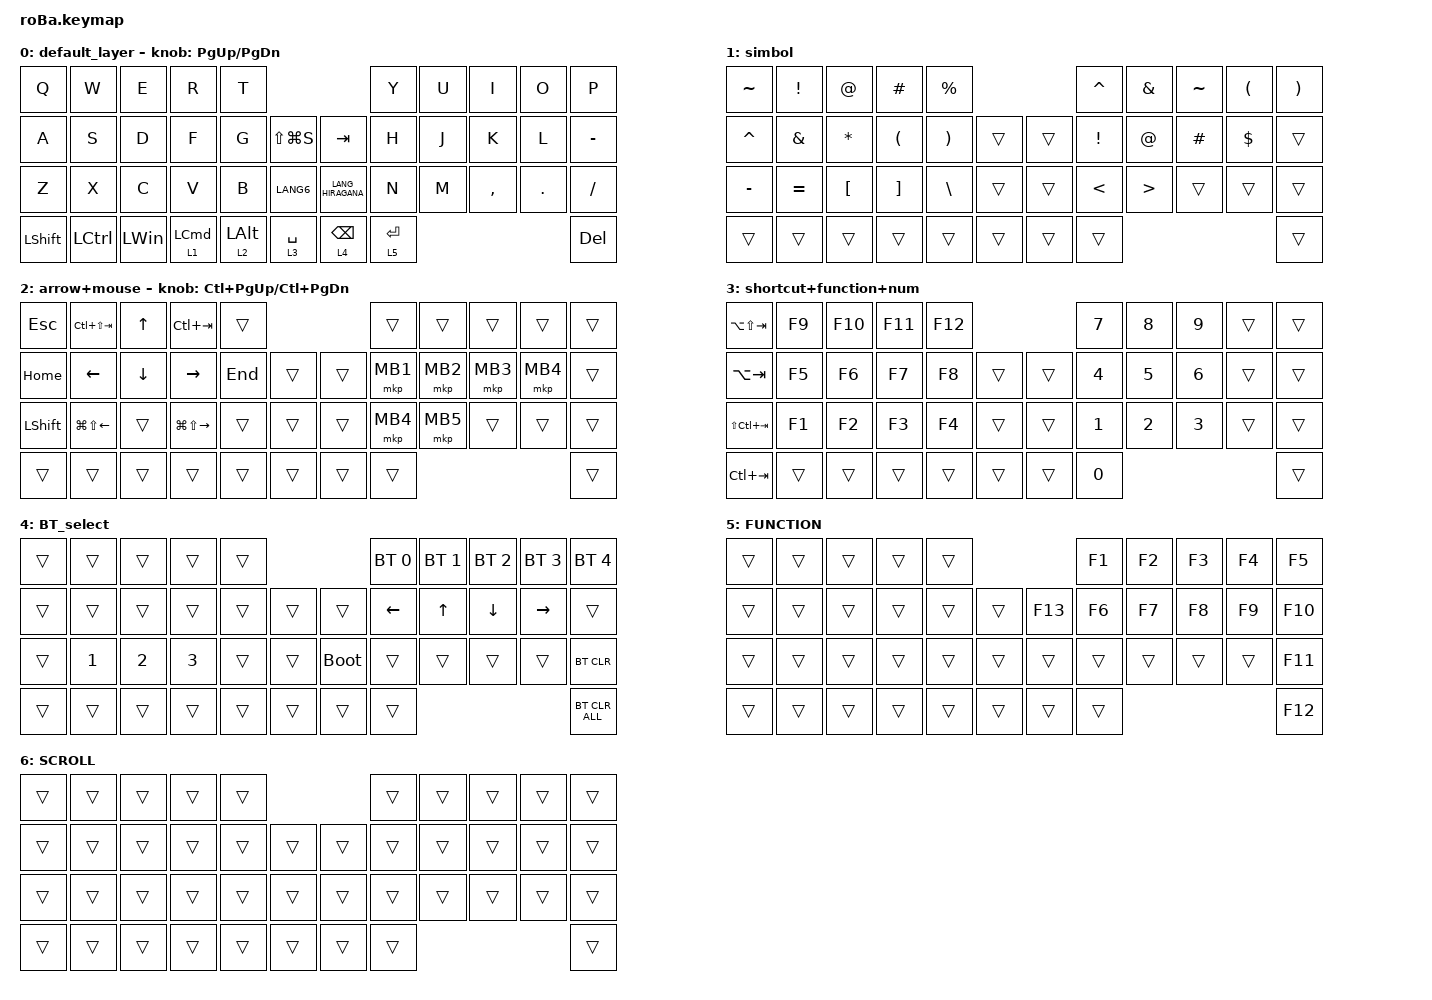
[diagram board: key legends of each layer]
#include <behaviors.dtsi>
#include <dt-bindings/zmk/bt.h>
#include <dt-bindings/zmk/keys.h>
#include <dt-bindings/zmk/pointing.h>

&mt {
    flavor = "balanced";
    quick-tap-ms = <0>;
};

&trackball {
    automouse-layer = <4>;
    scroll-layers = <5>;

    // arrows {
    //     layers = <3>;
    //     bindings =
    //         <&kp RIGHT_ARROW>,
    //         <&kp LEFT_ARROW>,
    //         <&kp UP_ARROW>,
    //         <&kp DOWN_ARROW>;
    //     tick = <10>;
    //     wait-ms = <5>;
    //     tap-ms = <5>;
    // };
};

/ {
    combos {
        compatible = "zmk,combos";

        tab {
            bindings = <&kp TAB>;
            key-positions = <11 12>;
        };

        shift_tab {
            bindings = <&kp LS(TAB)>;
            key-positions = <12 13>;
        };

        muhennkann {
            bindings = <&to_layer_0 INT_MUHENKAN>;
            key-positions = <11 10>;
        };

        double_quotation {
            bindings = <&kp DOUBLE_QUOTES>;
            key-positions = <20 21>;
        };

        eq {
            bindings = <&kp EQUAL>;
            key-positions = <24 25>;
        };
    };

    macros {
        to_layer_0: to_layer_0 {
            compatible = "zmk,behavior-macro-one-param";
            #binding-cells = <1>;
            bindings = <&to 0 &macro_param_1to1 &kp MACRO_PLACEHOLDER>;
            label = "TO_LAYER_0";
        };
    };

    behaviors {
        lt_to_layer_0: lt_to_layer_0 {
            compatible = "zmk,behavior-hold-tap";
            label = "LAYER_TAP_TO_0";
            bindings = <&mo>, <&to_layer_0>;

            #binding-cells = <2>;
            tapping-term-ms = <200>;
        };
    };

    keymap {
        compatible = "zmk,keymap";

        default_layer {
            bindings = <
&kp Q           &kp W             &kp E         &kp R               &kp T                                                 &kp Y        &kp U  &kp I      &kp O       &kp P
&kp A           &kp S             &kp D         &kp F               &kp G           &kp LS(LG(S))      &kp TAB            &kp H        &kp J  &kp K      &kp L       &kp MINUS
&kp Z           &kp X             &kp C         &kp V               &kp B           &kp LANG6          &kp LANG_HIRAGANA  &kp N        &kp M  &kp COMMA  &kp PERIOD  &kp SLASH
&kp LEFT_SHIFT  &kp LEFT_CONTROL  &kp LEFT_WIN  &lt 1 LEFT_COMMAND  &lt 2 LEFT_ALT  &lt 3 SPACE        &lt 4 BACKSPACE    &lt 5 ENTER                                &kp DELETE
            >;

            sensor-bindings = <&inc_dec_kp PG_UP PAGE_DOWN>;
        };

        simbol {
            bindings = <
&kp TILDE  &kp EXCLAMATION  &kp AT_SIGN       &kp HASH              &kp PERCENT                                &kp CARET        &kp AMPERSAND     &kp TILDE  &kp LEFT_PARENTHESIS  &kp RIGHT_PARENTHESIS
&kp CARET  &kp AMPERSAND    &kp ASTERISK      &kp LEFT_PARENTHESIS  &kp RIGHT_PARENTHESIS  &trans      &trans  &kp EXCLAMATION  &kp AT_SIGN       &kp HASH   &kp DOLLAR            &trans
&kp MINUS  &kp EQUAL        &kp LEFT_BRACKET  &kp RIGHT_BRACKET     &kp BACKSLASH          &trans      &trans  &kp LESS_THAN    &kp GREATER_THAN  &trans     &trans                &trans
&trans     &trans           &trans            &trans                &trans                 &trans      &trans  &trans                                                              &trans
            >;
        };

        arrow+mouse {
            bindings = <
&kp ESCAPE      &kp LC(LS(TAB))         &kp UP_ARROW    &kp LC(TAB)              &trans                       &trans    &trans    &trans    &trans    &trans
&kp HOME        &kp LEFT_ARROW          &kp DOWN_ARROW  &kp RIGHT_ARROW          &kp END  &trans      &trans  &mkp MB1  &mkp MB2  &mkp MB3  &mkp MB4  &trans
&kp LEFT_SHIFT  &kp LG(LS(LEFT_ARROW))  &trans          &kp LG(LS(RIGHT_ARROW))  &trans   &trans      &trans  &mkp MB4  &mkp MB5  &trans    &trans    &trans
&trans          &trans                  &trans          &trans                   &trans   &trans      &trans  &trans                                  &trans
            >;

            sensor-bindings = <&inc_dec_kp LC(PAGE_UP) LC(PAGE_DOWN)>;
        };

        shortcut+function+num {
            bindings = <
&kp LA(LS(TAB))  &kp F9  &kp F10  &kp F11  &kp F12                      &kp N7        &kp NUMBER_8  &kp NUMBER_9  &trans  &trans
&kp LA(TAB)      &kp F5  &kp F6   &kp F7   &kp F8   &trans      &trans  &kp NUMBER_4  &kp NUMBER_5  &kp NUMBER_6  &trans  &trans
&kp LS(LC(TAB))  &kp F1  &kp F2   &kp F3   &kp F4   &trans      &trans  &kp NUMBER_1  &kp NUMBER_2  &kp NUMBER_3  &trans  &trans
&kp LC(TAB)      &trans  &trans   &trans   &trans   &trans      &trans  &kp NUMBER_0                                      &trans
            >;
        };

        BT_select {
            bindings = <
&trans  &trans        &trans        &trans        &trans                           &bt BT_SEL 0    &bt BT_SEL 1  &bt BT_SEL 2    &bt BT_SEL 3     &bt BT_SEL 4
&trans  &trans        &trans        &trans        &trans  &trans      &trans       &kp LEFT_ARROW  &kp UP_ARROW  &kp DOWN_ARROW  &kp RIGHT_ARROW  &trans
&trans  &kp NUMBER_1  &kp NUMBER_2  &kp NUMBER_3  &trans  &trans      &bootloader  &trans          &trans        &trans          &trans           &bt BT_CLR
&trans  &trans        &trans        &trans        &trans  &trans      &trans       &trans                                                         &bt BT_CLR_ALL
            >;
        };

        FUNCTION {
            bindings = <
&trans  &trans  &trans  &trans  &trans                       &kp F1  &kp F2  &kp F3  &kp F4  &kp F5
&trans  &trans  &trans  &trans  &trans  &trans      &kp F13  &kp F6  &kp F7  &kp F8  &kp F9  &kp F10
&trans  &trans  &trans  &trans  &trans  &trans      &trans   &trans  &trans  &trans  &trans  &kp F11
&trans  &trans  &trans  &trans  &trans  &trans      &trans   &trans                          &kp F12
            >;
        };

        SCROLL {
            bindings = <
&trans  &trans  &trans  &trans  &trans                      &trans  &trans  &trans  &trans  &trans
&trans  &trans  &trans  &trans  &trans  &trans      &trans  &trans  &trans  &trans  &trans  &trans
&trans  &trans  &trans  &trans  &trans  &trans      &trans  &trans  &trans  &trans  &trans  &trans
&trans  &trans  &trans  &trans  &trans  &trans      &trans  &trans                          &trans
            >;
        };
    };
};
